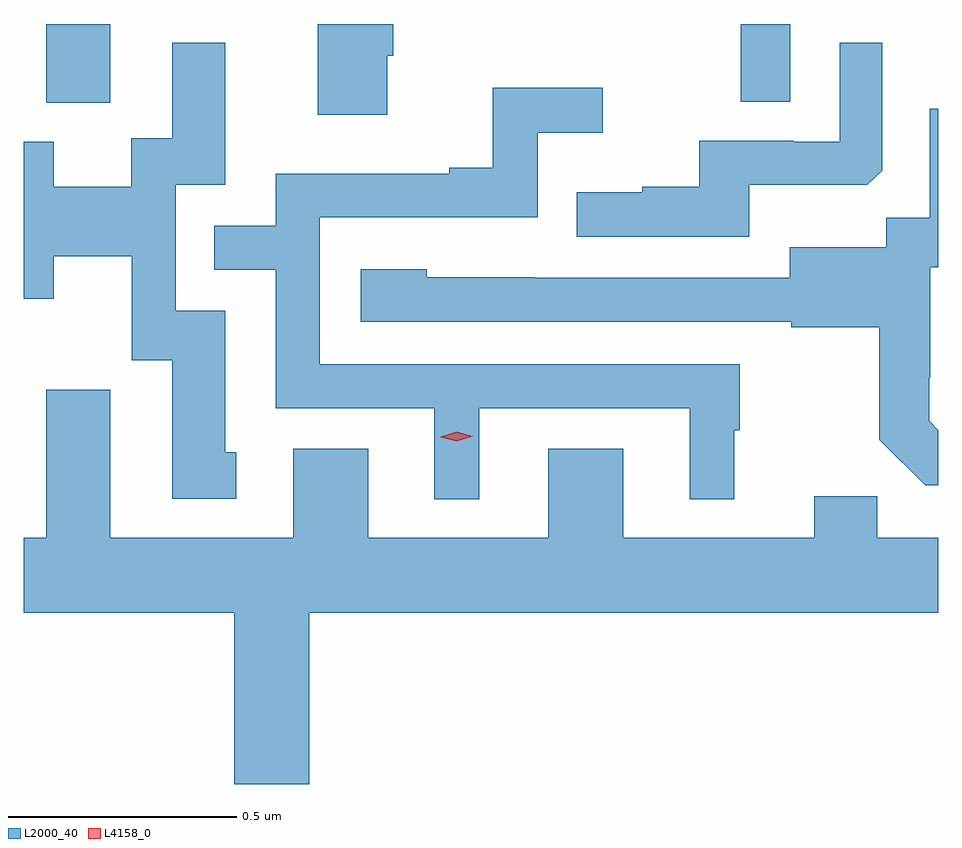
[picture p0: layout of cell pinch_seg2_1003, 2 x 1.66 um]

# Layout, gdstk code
import gdstk
lib = gdstk.Library(unit=1e-6, precision=1e-09)
def R(c, l, rs):  # rectangles x0, y0, x1, y1
    for r in rs: c.add(gdstk.rectangle(r[:2], r[2:], *l))
def P(c, l, *ps):  # polygons
    for p in ps: c.add(gdstk.Polygon(p, *l))
L2000_40 = (2000, 40)
L4158_0 = (4158, 0)

pinch_seg2_1003 = lib.new_cell('pinch_seg2_1003')
R(pinch_seg2_1003, L2000_40, [(200.561,651.416,200.701,651.588), (202.08,651.418,202.188,651.588)])
P(pinch_seg2_1003, L2000_40, [(201.307,651.519),(201.32,651.519),(201.32,651.588),(201.155,651.588),(201.155,651.39),(201.307,651.39)],
  [(200.977,650.652),(200.953,650.652),(200.953,650.961),(200.844,650.961),(200.844,651.237),(200.953,651.237),(200.953,651.547),(200.837,651.547),(200.837,651.338),(200.747,651.338),(200.747,651.232),(200.578,651.232),(200.578,651.331),(200.512,651.331),(200.512,650.987),(200.578,650.987),(200.578,651.08),(200.748,651.08),(200.748,650.853),(200.837,650.853),(200.837,650.55),(200.977,650.55)],
  [(202.099,651.236),(202.357,651.236),(202.389,651.267),(202.389,651.547),(202.296,651.547),(202.296,651.33),(202.196,651.33),(202.196,651.333),(201.989,651.333),(201.989,651.232),(201.865,651.232),(201.865,651.22),(201.721,651.22),(201.721,651.123),(202.099,651.123)],
  [(201.508,650.748),(201.968,650.748),(201.968,650.549),(202.066,650.549),(202.066,650.7),(202.078,650.7),(202.078,650.844),(201.159,650.844),(201.159,651.165),(201.636,651.165),(201.636,651.35),(201.778,651.35),(201.778,651.449),(201.538,651.449),(201.538,651.274),(201.443,651.274),(201.443,651.261),(201.063,651.261),(201.063,651.147),(200.929,651.147),(200.929,651.051),(201.063,651.051),(201.063,650.748),(201.41,650.748),(201.41,650.549),(201.508,650.549)],
  [(202.512,650.7),(202.492,650.72),(202.492,650.815),(202.494,650.815),(202.494,651.056),(202.512,651.056),(202.512,651.403),(202.493,651.403),(202.493,651.164),(202.398,651.164),(202.398,651.1),(202.187,651.1),(202.187,651.033),(201.629,651.033),(201.629,651.034),(201.393,651.034),(201.393,651.052),(201.249,651.052),(201.249,650.937),(202.191,650.937),(202.191,650.925),(202.383,650.925),(202.383,650.679),(202.483,650.579),(202.512,650.579)],
  [(201.136,650.3),(202.512,650.3),(202.512,650.464),(202.379,650.464),(202.379,650.555),(202.241,650.555),(202.241,650.464),(201.823,650.464),(201.823,650.659),(201.659,650.659),(201.659,650.464),(201.265,650.464),(201.265,650.659),(201.101,650.659),(201.101,650.464),(200.701,650.464),(200.701,650.788),(200.561,650.788),(200.561,650.464),(200.512,650.464),(200.512,650.3),(200.972,650.3),(200.972,649.926),(201.136,649.926)])
P(pinch_seg2_1003, L4158_0, [(201.459,650.676),(201.424,650.684),(201.423,650.685),(201.424,650.685),(201.459,650.696),(201.494,650.687),(201.495,650.687),(201.494,650.687)])

lib.write_gds('pinch_seg2_1003.gds')
